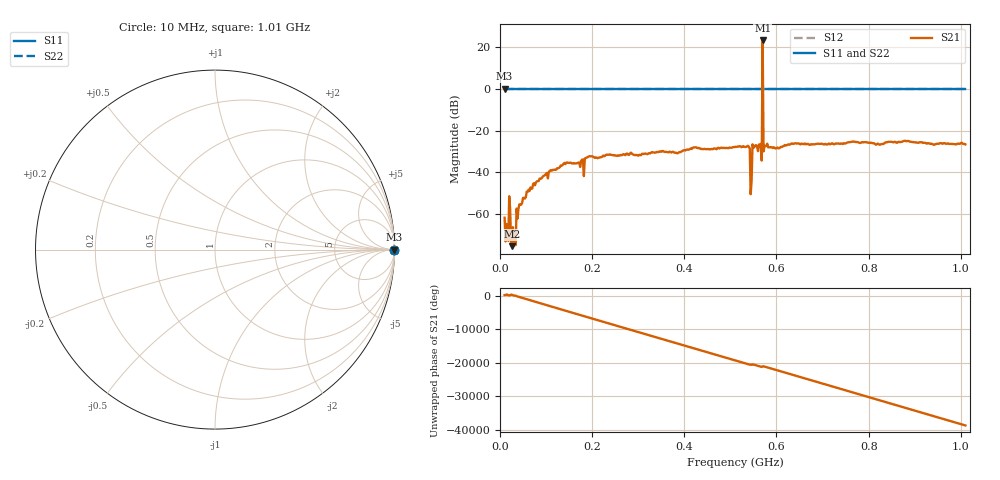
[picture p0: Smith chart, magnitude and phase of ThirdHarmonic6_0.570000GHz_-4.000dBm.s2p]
! 8/15/2025 6:17:19 PM
! C:\ANRITSUVNA\TEMP\TEMP.S2P
! CHANNEL.1
! TR.MEASUREMENT
! RAW.DATA
! RF.CORRECTION.OFF
! AVERAGING.OFF
! IF.BANDWIDTH: 5KHZ
! SWEEPTYPE:  FREQ.SWEEP(Linear)
! Reference Plane Port Info
! PORT:  PORT1  PORT2
! DISTANCE:  0  m  0  m
! TIME:  0  s  0  s
! PHASE.OFFSET:  0  deg.  0  deg.
! LOSS:  0  dB  0  dB
! REF.LOSS:  0  dB  0  dB
! REF.FREQ:  0  Hz  0  Hz
! Power Info
! POWER:  -20  dBm  -20  dBm
! EFF.POWER:  -20  dBm  -20  dBm
! SOURCE.ATTEN:  0  dB  0  dB
! TEST.ATTEN:  0  dB  0  dB
# GHZ S RI R 50.0
! FREQ.GHZ  S11RE  S11IM  S21RE  S21IM  S12RE  S12IM  S22RE  S22IM
!; PortSelection: Port_12
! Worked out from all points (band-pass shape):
!   501 points, 10 MHz to 1.01 GHz, reference 50 ohm
!   highest |S21| = 23.16 dB at 570 MHz (marker M1); lowest = -75.4 dB at 26 MHz (marker M2)
!   |S21| within 3 dB of the highest: 569.8958 MHz to 570.1129 MHz (217.1 kHz wide, 0.0381 % of centre)
!   lowest |S11| = 0.0 dB at 10 MHz (marker M3)
!   |S11| at or under -10 dB: nowhere
!   |S22| runs from 0.0 to 0.0 dB; largest |S21 - S12| = 15
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0.01  1 0  -0.000802 0.000136  1 0  1 0
0.014  1 0  0.0005 -0.000285  1 0  1 0
0.018  1 0  -9.2e-05 0.000208  1 0  1 0
0.026  1 0  -7e-05 -0.000154  1 0  1 0
0.03  1 0  6.32e-05 0.00016  1 0  1 0
0.04  1 0  0.00101 0.00087  1 0  1 0
0.076  1 0  0.00488 2.66e-05  1 0  1 0
0.178  1 0  -0.0197 -0.00323  1 0  1 0
0.344  1 0  0.0292 -0.00865  1 0  1 0
0.51  1 0  -0.0364 0.0185  1 0  1 0
0.538  1 0  -0.0108 0.0416  1 0  1 0
0.542  1 0  0.022 -0.0303  1 0  1 0
0.548  1 0  0.0271 0.038  1 0  1 0
0.552  1 0  -0.00301 -0.0398  1 0  1 0
0.564  1 0  -0.0356 0.0255  1 0  1 0
0.566  1 0  0.023 0.042  1 0  1 0
0.57  1 0  -8.948 11.27  1 0  1 0
0.574  1 0  -0.00269 0.0427  1 0  1 0
0.576  1 0  0.0411 0.0109  1 0  1 0
0.678  1 0  -0.0267 -0.0379  1 0  1 0
0.844  1 0  0.0453 0.0289  1 0  1 0
1.01  1 0  -0.0465 -0.00201  1 0  1 0
